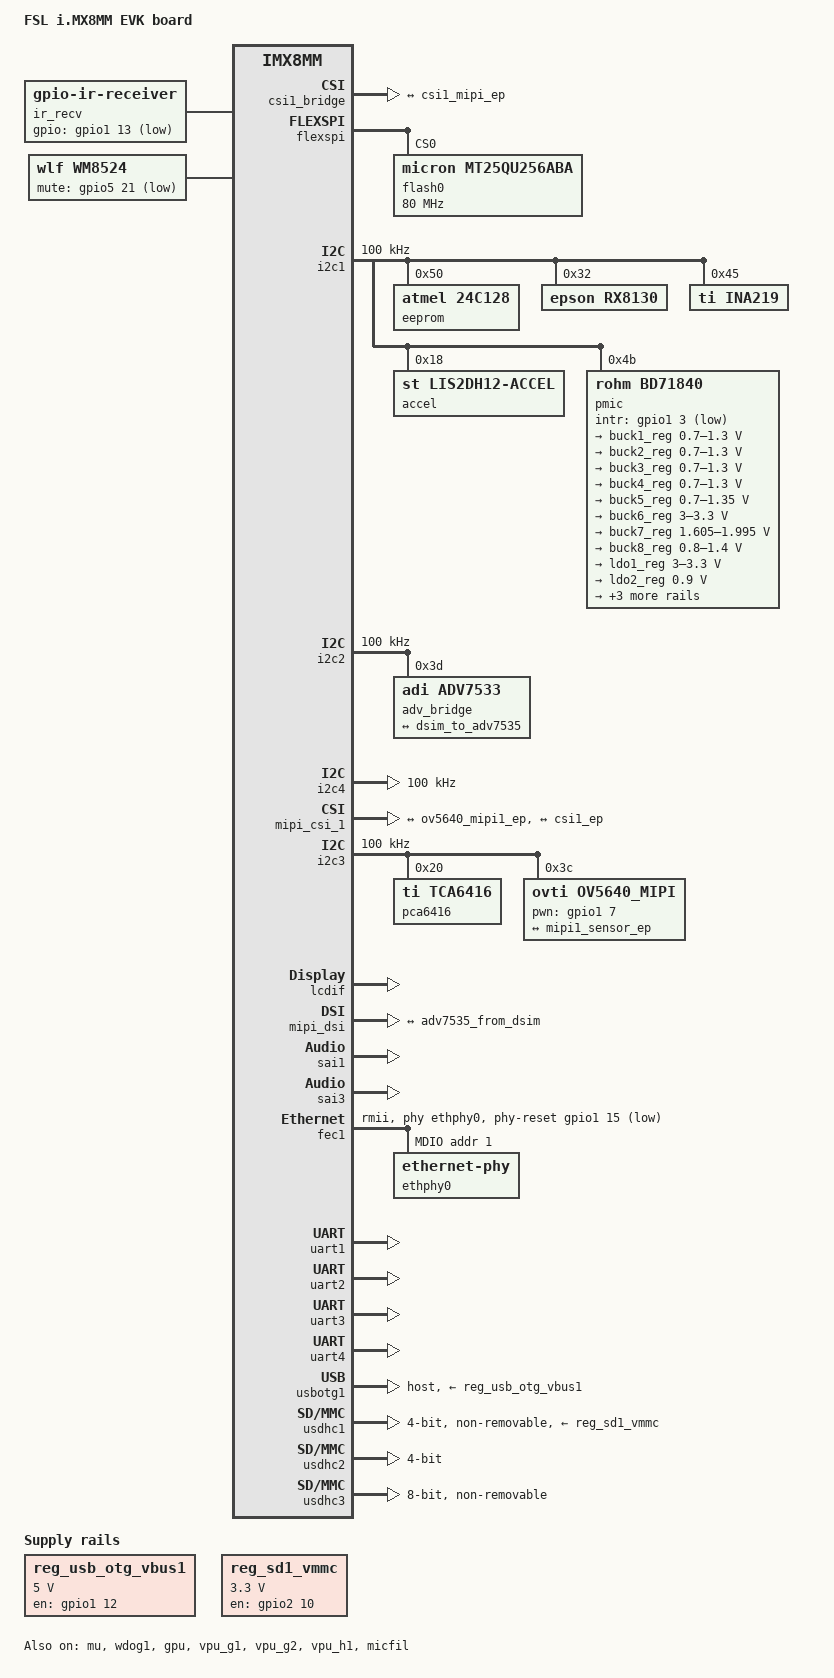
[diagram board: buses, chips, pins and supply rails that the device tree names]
/*
 * Copyright 2018 NXP
 *
 * This program is free software; you can redistribute it and/or
 * modify it under the terms of the GNU General Public License
 * as published by the Free Software Foundation; either version 2
 * of the License, or (at your option) any later version.
 *
 * This program is distributed in the hope that it will be useful,
 * but WITHOUT ANY WARRANTY; without even the implied warranty of
 * MERCHANTABILITY or FITNESS FOR A PARTICULAR PURPOSE.  See the
 * GNU General Public License for more details.
 */

/dts-v1/;

#include "fsl-imx8mm.dtsi"

/ {
	model = "FSL i.MX8MM EVK board";
	compatible = "fsl,imx8mm-evk", "fsl,imx8mm";

	chosen {
		bootargs = "console=ttymxc0,115200 earlycon=ec_imx6q,0x30860000,115200";
		stdout-path = &uart1;
	};

	ir_recv: ir-receiver {
		compatible = "gpio-ir-receiver";
		gpios = <&gpio1 13 GPIO_ACTIVE_LOW>;
		pinctrl-names = "default";
		pinctrl-0 = <&pinctrl_ir_recv>;
	};

	regulators {
		compatible = "simple-bus";
		#address-cells = <1>;
		#size-cells = <0>;

		reg_usb_otg_vbus1: regulator@0 {
			compatible = "regulator-fixed";
			reg = <0>;
			regulator-name = "usb_otg_vbus1";
			regulator-min-microvolt = <5000000>;
			regulator-max-microvolt = <5000000>;
			gpio = <&gpio1 12 0>;
			enable-active-high;
		};


		reg_sd1_vmmc: sd1_regulator {
			compatible = "regulator-fixed";
			regulator-name = "WLAN_EN";
			regulator-min-microvolt = <3300000>;
			regulator-max-microvolt = <3300000>;
			gpio = <&gpio2 10 GPIO_ACTIVE_HIGH>;
			off-on-delay = <20000>;
			startup-delay-us = <100>;
			enable-active-high;
		};

	};

	wm8524: wm8524 {
		compatible = "wlf,wm8524";
		clocks = <&clk IMX8MM_CLK_SAI3_ROOT>;
		clock-names = "mclk";
		wlf,mute-gpios = <&gpio5 21 GPIO_ACTIVE_LOW>;
	};

	sound-wm8524 {
		compatible = "fsl,imx-audio-wm8524";
		model = "wm8524-audio";
		audio-cpu = <&sai3>;
		audio-codec = <&wm8524>;
		audio-routing =
			"Line Out Jack", "LINEVOUTL",
			"Line Out Jack", "LINEVOUTR";
	};

};

&clk {
	assigned-clocks = <&clk IMX8MM_AUDIO_PLL1>, <&clk IMX8MM_AUDIO_PLL2>;
	assigned-clock-rates = <786432000>, <722534400>;
};

&iomuxc {
	pinctrl-names = "default";

	imx8mm-evk {
		pinctrl_m7533_alert: m7533_alert {
			fsl,pins = <
				/* main board */
				MX8MM_IOMUXC_SAI2_RXD0_GPIO4_IO23		0x19

				/* sensor board */
				MX8MM_IOMUXC_ECSPI1_SCLK_GPIO5_IO6		0x19
			>;
		};

		pinctrl_mc3416_int: mc3416_int {
			fsl,pins = <
				MX8MM_IOMUXC_SD2_CLK_GPIO2_IO13			0x19
			>;
		};

		pinctrl_MIC_LED: MIC_LED {
			fsl,pins = <
				MX8MM_IOMUXC_SAI3_MCLK_GPIO5_IO2		0x19
				MX8MM_IOMUXC_SPDIF_TX_GPIO5_IO3			0x19
				MX8MM_IOMUXC_SPDIF_RX_GPIO5_IO4			0x19
				MX8MM_IOMUXC_SPDIF_EXT_CLK_GPIO5_IO5	0x19
			>;
		};

		pinctrl_RJ45_LED: RJ45_LED {
			fsl,pins = <
				/* RJ_nLED1_WAN_CH0_Orange */
				MX8MM_IOMUXC_SAI2_RXFS_GPIO4_IO21		0x19
				
				/* RJ_nLED2_WAN_CH0_Green */
				MX8MM_IOMUXC_SAI2_TXD0_GPIO4_IO26		0x19
			>;
		};

		pinctrl_csi_pwn: csi_pwn_grp {
			fsl,pins = <
				MX8MM_IOMUXC_GPIO1_IO07_GPIO1_IO7		0x19
			>;
		};

		pinctrl_ir_recv: ir_recv {
			fsl,pins = <
				MX8MM_IOMUXC_GPIO1_IO13_GPIO1_IO13		0x14f
			>;
		};

		pinctrl_csi_rst: csi_rst_grp {
			fsl,pins = <
				MX8MM_IOMUXC_GPIO1_IO06_GPIO1_IO6		0x19
				MX8MM_IOMUXC_GPIO1_IO14_CCMSRCGPCMIX_CLKO1	0x59
			>;
		};

		pinctrl_mipi_dsi_en: mipi_dsi_en {
			fsl,pins = <
				MX8MM_IOMUXC_GPIO1_IO08_GPIO1_IO8		0x16
			>;
		};

		pinctrl_i2c2_synaptics_dsx_io: synaptics_dsx_iogrp {
			fsl,pins = <
				MX8MM_IOMUXC_GPIO1_IO09_GPIO1_IO9		0x19	/* Touch int */
			>;
		};

		pinctrl_fec1: fec1grp {
			fsl,pins = <
				MX8MM_IOMUXC_ENET_MDC_ENET1_MDC		0x3
				MX8MM_IOMUXC_ENET_MDIO_ENET1_MDIO	0x3
				MX8MM_IOMUXC_ENET_TD2_ENET1_TX_CLK              0x1f
				MX8MM_IOMUXC_ENET_TD1_ENET1_RGMII_TD1	0x1f
				MX8MM_IOMUXC_ENET_TD0_ENET1_RGMII_TD0	0x1f
				MX8MM_IOMUXC_ENET_RD1_ENET1_RGMII_RD1	0x91
				MX8MM_IOMUXC_ENET_RD0_ENET1_RGMII_RD0	0x91
				MX8MM_IOMUXC_ENET_TXC_ENET1_RGMII_TXC	0x1f
				MX8MM_IOMUXC_ENET_RXC_ENET1_RGMII_RXC	0x91
				MX8MM_IOMUXC_ENET_RX_CTL_ENET1_RGMII_RX_CTL	0x91
				MX8MM_IOMUXC_ENET_TX_CTL_ENET1_RGMII_TX_CTL	0x1f
			>;
		};

		pinctrl_flexspi0: flexspi0grp {
			fsl,pins = <
				MX8MM_IOMUXC_NAND_ALE_QSPI_A_SCLK		0x1c2
				MX8MM_IOMUXC_NAND_CE0_B_QSPI_A_SS0_B		0x82
				MX8MM_IOMUXC_NAND_DATA00_QSPI_A_DATA0		0x82
				MX8MM_IOMUXC_NAND_DATA01_QSPI_A_DATA1		0x82
				MX8MM_IOMUXC_NAND_DATA02_QSPI_A_DATA2		0x82
				MX8MM_IOMUXC_NAND_DATA03_QSPI_A_DATA3		0x82
			>;
		};

		pinctrl_gpio_led: gpioledgrp {
			fsl,pins = <
				MX8MM_IOMUXC_NAND_READY_B_GPIO3_IO16	0x19
			>;
		};

		pinctrl_i2c1: i2c1grp {
			fsl,pins = <
				MX8MM_IOMUXC_I2C1_SCL_I2C1_SCL			0x400001c3
				MX8MM_IOMUXC_I2C1_SDA_I2C1_SDA			0x400001c3
			>;
		};

		pinctrl_i2c2: i2c2grp {
			fsl,pins = <
				MX8MM_IOMUXC_I2C2_SCL_I2C2_SCL			0x400001c3
				MX8MM_IOMUXC_I2C2_SDA_I2C2_SDA			0x400001c3
			>;
		};

		pinctrl_i2c3: i2c3grp {
			fsl,pins = <
				MX8MM_IOMUXC_I2C3_SCL_I2C3_SCL			0x400001c3
				MX8MM_IOMUXC_I2C3_SDA_I2C3_SDA			0x400001c3
			>;
		};

		pinctrl_i2c4: i2c4grp {
			fsl,pins = <
				MX8MM_IOMUXC_I2C4_SCL_I2C4_SCL			0x400001c3
				MX8MM_IOMUXC_I2C4_SDA_I2C4_SDA			0x400001c3
			>;
		};

		pinctrl_pmic: pmicirq {
			fsl,pins = <
				MX8MM_IOMUXC_GPIO1_IO03_GPIO1_IO3		0x41
			>;
		};

		pinctrl_sai1: sai1grp {
			fsl,pins = <
				MX8MM_IOMUXC_SAI1_MCLK_SAI1_MCLK	0xd6
				MX8MM_IOMUXC_SAI1_TXFS_SAI1_TX_SYNC	0xd6
				MX8MM_IOMUXC_SAI1_RXD7_SAI1_TX_SYNC	0xd6
				MX8MM_IOMUXC_SAI1_TXC_SAI1_TX_BCLK	0xd6
				MX8MM_IOMUXC_SAI1_TXD0_SAI1_TX_DATA0	0xd6
				MX8MM_IOMUXC_SAI1_TXD1_SAI1_TX_DATA1	0xd6
				MX8MM_IOMUXC_SAI1_TXD2_SAI1_TX_DATA2	0xd6
				MX8MM_IOMUXC_SAI1_TXD3_SAI1_TX_DATA3	0xd6
				MX8MM_IOMUXC_SAI1_TXD4_SAI1_TX_DATA4	0xd6
				MX8MM_IOMUXC_SAI1_TXD5_SAI1_TX_DATA5	0xd6
				MX8MM_IOMUXC_SAI1_TXD6_SAI1_TX_DATA6	0xd6
				MX8MM_IOMUXC_SAI1_TXD7_SAI1_TX_DATA7	0xd6
			>;
		};

		pinctrl_sai1_dsd: sai1grp_dsd {
			fsl,pins = <
				MX8MM_IOMUXC_SAI1_MCLK_SAI1_MCLK	0xd6
				MX8MM_IOMUXC_SAI1_TXFS_SAI1_TX_SYNC	0xd6
				MX8MM_IOMUXC_SAI1_RXD7_SAI1_TX_DATA4	0xd6
				MX8MM_IOMUXC_SAI1_TXC_SAI1_TX_BCLK	0xd6
				MX8MM_IOMUXC_SAI1_TXD0_SAI1_TX_DATA0	0xd6
				MX8MM_IOMUXC_SAI1_TXD1_SAI1_TX_DATA1	0xd6
				MX8MM_IOMUXC_SAI1_TXD2_SAI1_TX_DATA2	0xd6
				MX8MM_IOMUXC_SAI1_TXD3_SAI1_TX_DATA3	0xd6
				MX8MM_IOMUXC_SAI1_TXD4_SAI1_TX_DATA4	0xd6
				MX8MM_IOMUXC_SAI1_TXD5_SAI1_TX_DATA5	0xd6
				MX8MM_IOMUXC_SAI1_TXD6_SAI1_TX_DATA6	0xd6
				MX8MM_IOMUXC_SAI1_TXD7_SAI1_TX_DATA7	0xd6
			>;
		};

		pinctrl_sai3: sai3grp {
			fsl,pins = <
				MX8MM_IOMUXC_SAI3_TXFS_SAI3_TX_SYNC     0xd6
				MX8MM_IOMUXC_SAI3_TXC_SAI3_TX_BCLK      0xd6
				/*MX8MM_IOMUXC_SAI3_TXD_SAI3_TX_DATA0     0xd6*/
			>;
		};

		pinctrl_sai5: sai5grp {
			fsl,pins = <
				MX8MM_IOMUXC_SAI5_MCLK_SAI5_MCLK	0xd6
				MX8MM_IOMUXC_SAI5_RXC_SAI5_RX_BCLK	0xd6
				MX8MM_IOMUXC_SAI5_RXFS_SAI5_RX_SYNC	0xd6
				MX8MM_IOMUXC_SAI5_RXD0_SAI5_RX_DATA0	0xd6
				MX8MM_IOMUXC_SAI5_RXD1_SAI5_RX_DATA1    0xd6
				MX8MM_IOMUXC_SAI5_RXD2_SAI5_RX_DATA2    0xd6
				MX8MM_IOMUXC_SAI5_RXD3_SAI5_RX_DATA3    0xd6
			>;
		};

		pinctrl_pdm: pdmgrp {
			fsl,pins = <
				MX8MM_IOMUXC_SAI5_MCLK_SAI5_MCLK	0xd6
				MX8MM_IOMUXC_SAI5_RXC_PDM_CLK		0xd6
				MX8MM_IOMUXC_SAI5_RXFS_SAI5_RX_SYNC	0xd6
				MX8MM_IOMUXC_SAI5_RXD0_PDM_DATA0	0xd6
				MX8MM_IOMUXC_SAI5_RXD1_PDM_DATA1	0xd6
				MX8MM_IOMUXC_SAI5_RXD2_PDM_DATA2	0xd6
				MX8MM_IOMUXC_SAI5_RXD3_PDM_DATA3	0xd6
			>;
		};

		pinctrl_uart1: uart1grp {
			fsl,pins = <
				MX8MM_IOMUXC_UART1_RXD_UART1_DCE_RX	0x140
				MX8MM_IOMUXC_UART1_TXD_UART1_DCE_TX	0x140
			>;
		};

		pinctrl_uart2: uart2grp {
			fsl,pins = <
				MX8MM_IOMUXC_UART2_RXD_UART2_DCE_RX	0x140
				MX8MM_IOMUXC_UART2_TXD_UART2_DCE_TX	0x140
				MX8MM_IOMUXC_SAI3_RXD_GPIO4_IO30	0x19
			>;
		};

		pinctrl_uart3: uart3grp {
			fsl,pins = <
				MX8MM_IOMUXC_ECSPI1_SCLK_UART3_DCE_RX		0x140
				MX8MM_IOMUXC_ECSPI1_MOSI_UART3_DCE_TX		0x140
				MX8MM_IOMUXC_ECSPI1_SS0_UART3_DCE_RTS_B		0x140
				MX8MM_IOMUXC_ECSPI1_MISO_UART3_DCE_CTS_B	0x140
			>;
		};

		pinctrl_uart4: uart4grp {
			fsl,pins = <
				MX8MM_IOMUXC_UART4_RXD_UART4_DCE_RX			0x140
				MX8MM_IOMUXC_UART4_TXD_UART4_DCE_TX			0x140
			>;
		};


		pinctrl_usdhc1_gpio: usdhc1grpgpio {
			fsl,pins = <
				MX8MM_IOMUXC_SD1_DATA4_GPIO2_IO6			0x1c4
			>;
		};

		pinctrl_usdhc2_gpio: usdhc2grpgpio {
			fsl,pins = <
				MX8MM_IOMUXC_SD2_RESET_B_GPIO2_IO19			0x1d0
 			>;
 		};

		pinctrl_usdhc1: usdhc1grp {
			fsl,pins = <
				MX8MM_IOMUXC_SD1_CLK_USDHC1_CLK		0x190
				MX8MM_IOMUXC_SD1_CMD_USDHC1_CMD		0x1d0
				MX8MM_IOMUXC_SD1_DATA0_USDHC1_DATA0	0x1d0
				MX8MM_IOMUXC_SD1_DATA1_USDHC1_DATA1	0x1d0
				MX8MM_IOMUXC_SD1_DATA2_USDHC1_DATA2	0x1d0
				MX8MM_IOMUXC_SD1_DATA3_USDHC1_DATA3	0x1d0
			>;
		};

		pinctrl_usdhc1_100mhz: usdhc1grp100mhz {
			fsl,pins = <
				MX8MM_IOMUXC_SD1_CLK_USDHC1_CLK		0x194
				MX8MM_IOMUXC_SD1_CMD_USDHC1_CMD		0x1d4
				MX8MM_IOMUXC_SD1_DATA0_USDHC1_DATA0	0x1d4
				MX8MM_IOMUXC_SD1_DATA1_USDHC1_DATA1	0x1d4
				MX8MM_IOMUXC_SD1_DATA2_USDHC1_DATA2	0x1d4
				MX8MM_IOMUXC_SD1_DATA3_USDHC1_DATA3	0x1d4
			>;
		};

		pinctrl_usdhc1_200mhz: usdhc1grp200mhz {
			fsl,pins = <
				MX8MM_IOMUXC_SD1_CLK_USDHC1_CLK		0x196
				MX8MM_IOMUXC_SD1_CMD_USDHC1_CMD		0x1d6
				MX8MM_IOMUXC_SD1_DATA0_USDHC1_DATA0	0x1d6
				MX8MM_IOMUXC_SD1_DATA1_USDHC1_DATA1	0x1d6
				MX8MM_IOMUXC_SD1_DATA2_USDHC1_DATA2	0x1d6
				MX8MM_IOMUXC_SD1_DATA3_USDHC1_DATA3	0x1d6
			>;
		};


		pinctrl_usdhc2: usdhc2grp {
			fsl,pins = <
				MX8MM_IOMUXC_SD2_CMD_USDHC2_CMD		0x1d0
				MX8MM_IOMUXC_SD2_DATA0_USDHC2_DATA0	0x1d0
				MX8MM_IOMUXC_SD2_DATA1_USDHC2_DATA1	0x1d0
				MX8MM_IOMUXC_SD2_DATA2_USDHC2_DATA2	0x1d0
				MX8MM_IOMUXC_SD2_DATA3_USDHC2_DATA3	0x1d0
				MX8MM_IOMUXC_GPIO1_IO04_USDHC2_VSELECT	0x1d0
			>;
		};

		pinctrl_usdhc2_100mhz: usdhc2grp100mhz {
			fsl,pins = <
				MX8MM_IOMUXC_SD2_CMD_USDHC2_CMD		0x1d4
				MX8MM_IOMUXC_SD2_DATA0_USDHC2_DATA0	0x1d4
				MX8MM_IOMUXC_SD2_DATA1_USDHC2_DATA1	0x1d4
				MX8MM_IOMUXC_SD2_DATA2_USDHC2_DATA2	0x1d4
				MX8MM_IOMUXC_SD2_DATA3_USDHC2_DATA3	0x1d4
				MX8MM_IOMUXC_GPIO1_IO04_USDHC2_VSELECT	0x1d0
			>;
		};

		pinctrl_usdhc2_200mhz: usdhc2grp200mhz {
			fsl,pins = <
				MX8MM_IOMUXC_SD2_CMD_USDHC2_CMD		0x1d6
				MX8MM_IOMUXC_SD2_DATA0_USDHC2_DATA0	0x1d6
				MX8MM_IOMUXC_SD2_DATA1_USDHC2_DATA1	0x1d6
				MX8MM_IOMUXC_SD2_DATA2_USDHC2_DATA2	0x1d6
				MX8MM_IOMUXC_SD2_DATA3_USDHC2_DATA3	0x1d6
				MX8MM_IOMUXC_GPIO1_IO04_USDHC2_VSELECT	0x1d0
			>;
		};

		pinctrl_usdhc3: usdhc3grp {
			fsl,pins = <
				MX8MM_IOMUXC_NAND_WE_B_USDHC3_CLK		0x190
				MX8MM_IOMUXC_NAND_WP_B_USDHC3_CMD		0x1d0
				MX8MM_IOMUXC_NAND_DATA04_USDHC3_DATA0		0x1d0
				MX8MM_IOMUXC_NAND_DATA05_USDHC3_DATA1		0x1d0
				MX8MM_IOMUXC_NAND_DATA06_USDHC3_DATA2		0x1d0
				MX8MM_IOMUXC_NAND_DATA07_USDHC3_DATA3		0x1d0
				MX8MM_IOMUXC_NAND_RE_B_USDHC3_DATA4		0x1d0
				MX8MM_IOMUXC_NAND_CE2_B_USDHC3_DATA5		0x1d0
				MX8MM_IOMUXC_NAND_CE3_B_USDHC3_DATA6		0x1d0
				MX8MM_IOMUXC_NAND_CLE_USDHC3_DATA7		0x1d0
				MX8MM_IOMUXC_NAND_CE1_B_USDHC3_STROBE 		0x190
			>;
		};

		pinctrl_usdhc3_100mhz: usdhc3grp100mhz {
			fsl,pins = <
				MX8MM_IOMUXC_NAND_WE_B_USDHC3_CLK		0x194
				MX8MM_IOMUXC_NAND_WP_B_USDHC3_CMD		0x1d4
				MX8MM_IOMUXC_NAND_DATA04_USDHC3_DATA0		0x1d4
				MX8MM_IOMUXC_NAND_DATA05_USDHC3_DATA1		0x1d4
				MX8MM_IOMUXC_NAND_DATA06_USDHC3_DATA2		0x1d4
				MX8MM_IOMUXC_NAND_DATA07_USDHC3_DATA3		0x1d4
				MX8MM_IOMUXC_NAND_RE_B_USDHC3_DATA4		0x1d4
				MX8MM_IOMUXC_NAND_CE2_B_USDHC3_DATA5		0x1d4
				MX8MM_IOMUXC_NAND_CE3_B_USDHC3_DATA6		0x1d4
				MX8MM_IOMUXC_NAND_CLE_USDHC3_DATA7		0x1d4
				MX8MM_IOMUXC_NAND_CE1_B_USDHC3_STROBE 		0x194
			>;
		};

		pinctrl_usdhc3_200mhz: usdhc3grp200mhz {
			fsl,pins = <
				MX8MM_IOMUXC_NAND_WE_B_USDHC3_CLK		0x196
				MX8MM_IOMUXC_NAND_WP_B_USDHC3_CMD		0x1d6
				MX8MM_IOMUXC_NAND_DATA04_USDHC3_DATA0		0x1d6
				MX8MM_IOMUXC_NAND_DATA05_USDHC3_DATA1		0x1d6
				MX8MM_IOMUXC_NAND_DATA06_USDHC3_DATA2		0x1d6
				MX8MM_IOMUXC_NAND_DATA07_USDHC3_DATA3		0x1d6
				MX8MM_IOMUXC_NAND_RE_B_USDHC3_DATA4		0x1d6
				MX8MM_IOMUXC_NAND_CE2_B_USDHC3_DATA5		0x1d6
				MX8MM_IOMUXC_NAND_CE3_B_USDHC3_DATA6		0x1d6
				MX8MM_IOMUXC_NAND_CLE_USDHC3_DATA7		0x1d6
				MX8MM_IOMUXC_NAND_CE1_B_USDHC3_STROBE 		0x196
			>;
		};

		pinctrl_wdog: wdoggrp {
			fsl,pins = <
				MX8MM_IOMUXC_GPIO1_IO02_WDOG1_WDOG_B		0xc6
			>;
		};
		pinctrl_ina: inagrp {
			fsl,pins = <
				MX8MM_IOMUXC_SAI3_TXD_GPIO5_IO1				0xc6
			>;
		};
	};
};

&csi1_bridge {
	fsl,mipi-mode;
	status = "okay";
	port {
		csi1_ep: endpoint {
			remote-endpoint = <&csi1_mipi_ep>;
		};
	};
};

&flexspi {
	pinctrl-names = "default";
	pinctrl-0 = <&pinctrl_flexspi0>;
	status = "okay";

	flash0: mt25qu256aba@0 {
		reg = <0>;
		#address-cells = <1>;
		#size-cells = <1>;
		compatible = "micron,mt25qu256aba";
		spi-max-frequency = <80000000>;
		spi-nor,ddr-quad-read-dummy = <6>;
	};
};

&i2c1 {
	clock-frequency = <100000>;
	pinctrl-names = "default";
	pinctrl-0 = <&pinctrl_i2c1>, <&pinctrl_ina>;
	status = "okay";

	eeprom@50{
		compatible = "atmel,24c128";
		reg = <0x50>;
		pagesize = <64>;
	};

	rx8130@32{
		compatible = "epson,rx8130";
		reg = <0x32>;
	};

	ina219@45{
		compatible = "ti,ina219";
		reg = <0x45>;
		shunt-resistor = <1000>;
	};

	accel@18 {
		compatible = "st,lis2dh12-accel";
		reg = <0x18> ;
	};

	pmic: bd71837@4b {
		reg = <0x4b>;
		compatible = "rohm,bd71840", "rohm,bd71837";
		/* PMIC BD71837 PMIC_nINT GPIO1_IO3 */
		pinctrl-0 = <&pinctrl_pmic>;
		gpio_intr = <&gpio1 3 GPIO_ACTIVE_LOW>;

		gpo {
			rohm,drv = <0x0C>;	/* 0b0000_1100 all gpos with cmos output mode */
		};

		regulators {
			#address-cells = <1>;
			#size-cells = <0>;

			bd71837,pmic-buck2-uses-i2c-dvs;
			bd71837,pmic-buck2-dvs-voltage = <1000000>, <900000>, <0>; /* VDD_ARM: Run-Idle */

			buck1_reg: regulator@0 {
				reg = <0>;
				regulator-compatible = "buck1";
				regulator-min-microvolt = <700000>;
				regulator-max-microvolt = <1300000>;
				regulator-boot-on;
				regulator-always-on;
				regulator-ramp-delay = <1250>;
			};

			buck2_reg: regulator@1 {
				reg = <1>;
				regulator-compatible = "buck2";
				regulator-min-microvolt = <700000>;
				regulator-max-microvolt = <1300000>;
				regulator-boot-on;
				regulator-always-on;
				regulator-ramp-delay = <1250>;
			};

			buck3_reg: regulator@2 {
				reg = <2>;
				regulator-compatible = "buck3";
				regulator-min-microvolt = <700000>;
				regulator-max-microvolt = <1300000>;
			};

			buck4_reg: regulator@3 {
				reg = <3>;
				regulator-compatible = "buck4";
				regulator-min-microvolt = <700000>;
				regulator-max-microvolt = <1300000>;
			};

			buck5_reg: regulator@4 {
				reg = <4>;
				regulator-compatible = "buck5";
				regulator-min-microvolt = <700000>;
				regulator-max-microvolt = <1350000>;
				regulator-boot-on;
				regulator-always-on;
			};

			buck6_reg: regulator@5 {
				reg = <5>;
				regulator-compatible = "buck6";
				regulator-min-microvolt = <3000000>;
				regulator-max-microvolt = <3300000>;
				regulator-boot-on;
				regulator-always-on;
			};

			buck7_reg: regulator@6 {
				reg = <6>;
				regulator-compatible = "buck7";
				regulator-min-microvolt = <1605000>;
				regulator-max-microvolt = <1995000>;
				regulator-boot-on;
				regulator-always-on;
			};

			buck8_reg: regulator@7 {
				reg = <7>;
				regulator-compatible = "buck8";
				regulator-min-microvolt = <800000>;
				regulator-max-microvolt = <1400000>;
				regulator-boot-on;
				regulator-always-on;
			};

			ldo1_reg: regulator@8 {
				reg = <8>;
				regulator-compatible = "ldo1";
				regulator-min-microvolt = <3000000>;
				regulator-max-microvolt = <3300000>;
				regulator-boot-on;
				regulator-always-on;
			};

			ldo2_reg: regulator@9 {
				reg = <9>;
				regulator-compatible = "ldo2";
				regulator-min-microvolt = <900000>;
				regulator-max-microvolt = <900000>;
				regulator-boot-on;
				regulator-always-on;
			};

			ldo3_reg: regulator@10 {
				reg = <10>;
				regulator-compatible = "ldo3";
				regulator-min-microvolt = <1800000>;
				regulator-max-microvolt = <3300000>;
				regulator-boot-on;
				regulator-always-on;
			};

			ldo4_reg: regulator@11 {
				reg = <11>;
				regulator-compatible = "ldo4";
				regulator-min-microvolt = <900000>;
				regulator-max-microvolt = <1800000>;
				regulator-boot-on;
				regulator-always-on;
			};

			ldo6_reg: regulator@13 {
				reg = <13>;
				regulator-compatible = "ldo6";
				regulator-min-microvolt = <900000>;
				regulator-max-microvolt = <1800000>;
				regulator-boot-on;
				regulator-always-on;
			};
		};
	};
};

&i2c2 {
	clock-frequency = <100000>;
	pinctrl-names = "default";
	pinctrl-0 = <&pinctrl_i2c2>;
	status = "okay";

	adv_bridge: adv7535@3d {
		compatible = "adi,adv7533";
		reg = <0x3d>;
		adi,addr-cec = <0x3b>;
		adi,dsi-lanes = <4>;
		status = "okay";

		port {
			adv7535_from_dsim: endpoint {
				remote-endpoint = <&dsim_to_adv7535>;
			};
		};
	};

};

&i2c4 {
	clock-frequency = <100000>;
	pinctrl-names = "default";
	pinctrl-0 = <&pinctrl_i2c4>;
	status = "okay";
};



&mipi_csi_1 {
	#address-cells = <1>;
	#size-cells = <0>;
	status = "okay";
	port {
		mipi1_sensor_ep: endpoint1 {
			remote-endpoint = <&ov5640_mipi1_ep>;
			data-lanes = <2>;
			csis-hs-settle = <13>;
			csis-clk-settle = <2>;
			csis-wclk;
		};

		csi1_mipi_ep: endpoint2 {
			remote-endpoint = <&csi1_ep>;
		};
	};
};

&i2c3 {
	clock-frequency = <100000>;
	pinctrl-names = "default";
	pinctrl-0 = <&pinctrl_i2c3>;
	status = "okay";

	pca6416: gpio@20 {
		compatible = "ti,tca6416";
		reg = <0x20>;
		gpio-controller;
		#gpio-cells = <2>;
	};

	ov5640_mipi: ov5640_mipi@3c {
		compatible = "ovti,ov5640_mipi";
		reg = <0x3c>;
		status = "okay";
		pinctrl-names = "default";
		pinctrl-0 = <&pinctrl_csi_pwn>, <&pinctrl_csi_rst>;
		clocks = <&clk IMX8MM_CLK_CLKO1_DIV>;
		clock-names = "csi_mclk";
		assigned-clocks = <&clk IMX8MM_CLK_CLKO1_SRC>,
				  <&clk IMX8MM_CLK_CLKO1_DIV>;
		assigned-clock-parents = <&clk IMX8MM_CLK_24M>;
		assigned-clock-rates = <0>, <24000000>;
		csi_id = <0>;
		pwn-gpios = <&gpio1 7 GPIO_ACTIVE_HIGH>;
		mclk = <24000000>;
		mclk_source = <0>;
		port {
			ov5640_mipi1_ep: endpoint {
				remote-endpoint = <&mipi1_sensor_ep>;
			};
		};
	};
};

&lcdif {
	status = "okay";
};

&mipi_dsi {
	status = "okay";

	port@1 {
		dsim_to_adv7535: endpoint {
			remote-endpoint = <&adv7535_from_dsim>;
		};
	};
};

&mu {
	status = "okay";
};

&sai1 {
	pinctrl-names = "default", "dsd";
	pinctrl-0 = <&pinctrl_sai1>;
	pinctrl-1 = <&pinctrl_sai1_dsd>;
	assigned-clocks = <&clk IMX8MM_CLK_SAI1_SRC>,
			<&clk IMX8MM_CLK_SAI1_DIV>;
	assigned-clock-parents = <&clk IMX8MM_AUDIO_PLL1_OUT>;
	assigned-clock-rates = <0>, <49152000>;
	clocks = <&clk IMX8MM_CLK_SAI1_IPG>, <&clk IMX8MM_CLK_DUMMY>,
		<&clk IMX8MM_CLK_SAI1_ROOT>, <&clk IMX8MM_CLK_DUMMY>,
		<&clk IMX8MM_CLK_DUMMY>, <&clk IMX8MM_AUDIO_PLL1_OUT>,
		<&clk IMX8MM_AUDIO_PLL2_OUT>;
	clock-names = "bus", "mclk0", "mclk1", "mclk2", "mclk3", "pll8k", "pll11k";
	fsl,sai-multi-lane;
	fsl,dataline,dsd = <0 0xff 0xff 2 0xff 0x11>;
	dmas = <&sdma2 0 26 0>, <&sdma2 1 26 0>;
	status = "okay";
};

&sai3 {
	pinctrl-names = "default";
	pinctrl-0 = <&pinctrl_sai3>;
	assigned-clocks = <&clk IMX8MM_CLK_SAI3_SRC>,
			<&clk IMX8MM_CLK_SAI3_DIV>;
	assigned-clock-parents = <&clk IMX8MM_AUDIO_PLL1_OUT>;
	assigned-clock-rates = <0>, <24576000>;
	status = "okay";
};

&sai5 {
	pinctrl-names = "default";
	pinctrl-0 = <&pinctrl_sai5>;
	assigned-clocks = <&clk IMX8MM_CLK_SAI5_SRC>,
			<&clk IMX8MM_CLK_SAI5_DIV>;
	assigned-clock-parents = <&clk IMX8MM_AUDIO_PLL1_OUT>;
	assigned-clock-rates = <0>, <49152000>;
	clocks = <&clk IMX8MM_CLK_SAI5_IPG>, <&clk IMX8MM_CLK_DUMMY>,
		<&clk IMX8MM_CLK_SAI5_ROOT>, <&clk IMX8MM_CLK_DUMMY>,
		<&clk IMX8MM_CLK_DUMMY>, <&clk IMX8MM_AUDIO_PLL1_OUT>,
		<&clk IMX8MM_AUDIO_PLL2_OUT>;
	clock-names = "bus", "mclk0", "mclk1", "mclk2", "mclk3", "pll8k", "pll11k";
	fsl,sai-asynchronous;
	status = "disabled";
};


&fec1 {
	pinctrl-names = "default";
	pinctrl-0 = <&pinctrl_fec1>;
	phy-mode = "rmii";
	phy-handle = <&ethphy0>;
	fsl,magic-packet;
	phy-reset-gpios = <&gpio1 15 GPIO_ACTIVE_LOW>;
	status = "okay";

	mdio {
		#address-cells = <1>;
		#size-cells = <0>;

		ethphy0: ethernet-phy@0 {
			/* reg is phy address */
			reg = <1>;
		};
	};
};

&uart1 {
	pinctrl-names = "default";
	pinctrl-0 = <&pinctrl_uart1>;
	status = "okay";
};

&uart2 {
	pinctrl-names = "default";
	pinctrl-0 = <&pinctrl_uart2>;
	status = "okay";
};

&uart3 {
	pinctrl-names = "default";
	pinctrl-0 = <&pinctrl_uart3>;
	assigned-clocks = <&clk IMX8MM_CLK_UART3_SRC>;
	assigned-clock-parents = <&clk IMX8MM_SYS_PLL1_80M>;
	fsl,uart-has-rtscts;
	status = "okay";
};

&uart4 {
	pinctrl-names = "default";
	pinctrl-0 = <&pinctrl_uart4>;
	status = "okay";
};


&usbotg1 {
	vbus-supply = <&reg_usb_otg_vbus1>;
	dr_mode = "host";
	picophy,pre-emp-curr-control = <3>;
	picophy,dc-vol-level-adjust = <7>;
	status = "okay";
};

&usdhc1 {
	pinctrl-names = "default", "state_100mhz", "state_200mhz";
	pinctrl-0 = <&pinctrl_usdhc1>, <&pinctrl_usdhc1_gpio>;
	pinctrl-1 = <&pinctrl_usdhc1_100mhz>, <&pinctrl_usdhc1_gpio>;
	pinctrl-2 = <&pinctrl_usdhc1_200mhz>, <&pinctrl_usdhc1_gpio>;
	bus-width = <4>;
	vmmc-supply = <&reg_sd1_vmmc>;
	pm-ignore-notify;
	keep-power-in-suspend;
	non-removable;
	status = "okay";
};

&usdhc2 {
	pinctrl-names = "default", "state_100mhz", "state_200mhz";
	pinctrl-0 = <&pinctrl_usdhc2>, <&pinctrl_usdhc2_gpio>;
	pinctrl-1 = <&pinctrl_usdhc2_100mhz>, <&pinctrl_usdhc2_gpio>;
	pinctrl-2 = <&pinctrl_usdhc2_200mhz>, <&pinctrl_usdhc2_gpio>;
	bus-width = <4>;
	status = "okay";
};

&usdhc3 {
	pinctrl-names = "default", "state_100mhz", "state_200mhz";
	pinctrl-0 = <&pinctrl_usdhc3>;
	pinctrl-1 = <&pinctrl_usdhc3_100mhz>;
	pinctrl-2 = <&pinctrl_usdhc3_200mhz>;
	bus-width = <8>;
	non-removable;
	status = "okay";
};

&wdog1 {
	pinctrl-names = "default";
	pinctrl-0 = <&pinctrl_wdog>;
	fsl,ext-reset-output;
	status = "okay";
};

&A53_0 {
	arm-supply = <&buck2_reg>;
};

&gpu {
	status = "okay";
};

&vpu_g1 {
	status = "okay";
};

&vpu_g2 {
	status = "okay";
};

&vpu_h1 {
	status = "okay";
};

&micfil {
	pinctrl-names = "default";
	pinctrl-0 = <&pinctrl_pdm>;
	assigned-clocks = <&clk IMX8MM_CLK_PDM_SRC>, <&clk IMX8MM_CLK_PDM_DIV>;
	assigned-clock-parents = <&clk IMX8MM_AUDIO_PLL1_OUT>;
	assigned-clock-rates = <0>, <196608000>;
	status = "okay";
};
